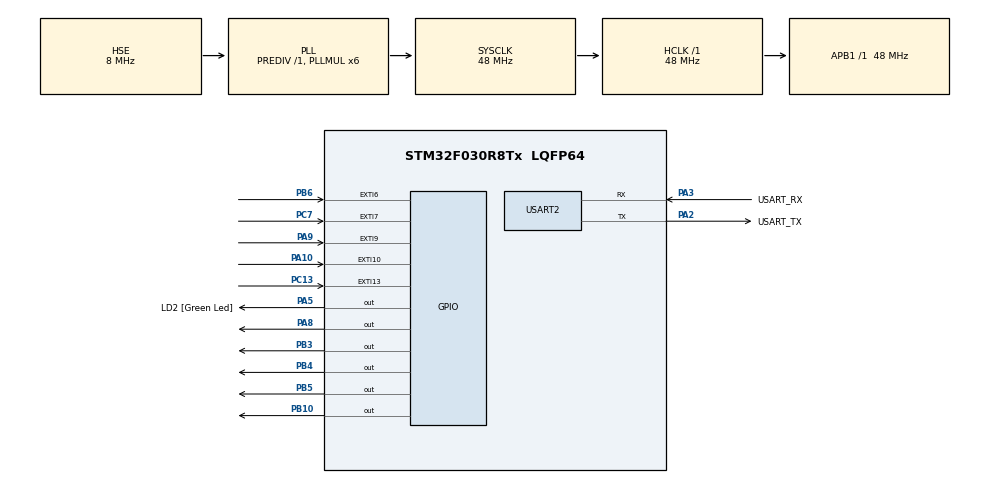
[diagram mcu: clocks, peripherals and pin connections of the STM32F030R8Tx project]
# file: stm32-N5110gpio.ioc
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Mcu.Family=STM32F0
Mcu.Name=STM32F030R8Tx
Mcu.Package=LQFP64
NVIC.EXTI4_15_IRQn=true\:0\:0\:false\:false\:true\:true\:true\:true
PA10.Signal=GPXTI10
PA13.GPIO_Label=TMS
PA13.Mode=Serial_Wire
PA13.Signal=SYS_SWDIO
PA14.GPIO_Label=TCK
PA14.Mode=Serial_Wire
PA14.Signal=SYS_SWCLK
PA2.GPIO_Label=USART_TX
PA2.GPIO_Mode=GPIO_MODE_AF_PP
PA2.GPIO_PuPd=GPIO_NOPULL
PA2.GPIO_Speed=GPIO_SPEED_FREQ_LOW
PA2.Mode=Asynchronous
PA2.Signal=USART2_TX
PA3.GPIO_Label=USART_RX
PA3.GPIO_Mode=GPIO_MODE_AF_PP
PA3.GPIO_PuPd=GPIO_NOPULL
PA3.GPIO_Speed=GPIO_SPEED_FREQ_LOW
PA3.Mode=Asynchronous
PA3.Signal=USART2_RX
PA5.GPIO_Label=LD2 [Green Led]
PA5.GPIO_Mode=GPIO_MODE_OUTPUT_PP
PA5.GPIO_PuPd=GPIO_NOPULL
PA5.GPIO_Speed=GPIO_SPEED_FREQ_LOW
PA5.Signal=GPIO_Output
PA8.Signal=GPIO_Output
PA9.Signal=GPXTI9
PB10.Signal=GPIO_Output
PB3.Signal=GPIO_Output
PB4.Signal=GPIO_Output
PB5.Signal=GPIO_Output
PB6.Signal=GPXTI6
PC13.Signal=GPXTI13
PC14-OSC32_IN.Mode=LSE-External-Oscillator
PC14-OSC32_IN.Signal=RCC_OSC32_IN
PC15-OSC32_OUT.Mode=LSE-External-Oscillator
PC15-OSC32_OUT.Signal=RCC_OSC32_OUT
PC7.Signal=GPXTI7
PF0-OSC_IN.Mode=HSE-External-Clock-Source
PF0-OSC_IN.Signal=RCC_OSC_IN
PF1-OSC_OUT.Signal=RCC_OSC_OUT
ProjectManager.HeapSize=0x200
ProjectManager.StackSize=0x400
ProjectManager.TargetToolchain=STM32CubeIDE
RCC.AHBFreq_Value=48000000
RCC.APB1Freq_Value=48000000
RCC.APB1TimFreq_Value=48000000
RCC.HCLKFreq_Value=48000000
RCC.PLLMUL=RCC_PLL_MUL6
RCC.PLLSourceVirtual=RCC_PLLSOURCE_HSE
RCC.SYSCLKFreq_VALUE=48000000
RCC.SYSCLKSource=RCC_SYSCLKSOURCE_PLLCLK
USART2.VirtualMode-Asynchronous=VM_ASYNC
board=NUCLEO-F030R8

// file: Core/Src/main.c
/* USER CODE BEGIN Header */
/**
  ******************************************************************************
  * @file           : main.c
  * @brief          : Main program body
  ******************************************************************************
  * @attention
  *
  * Copyright (c) 2023 STMicroelectronics.
  * All rights reserved.
  *
  * This software is licensed under terms that can be found in the LICENSE file
  * in the root directory of this software component.
  * If no LICENSE file comes with this software, it is provided AS-IS.
  *
  ******************************************************************************
  */
/* USER CODE END Header */
#include "main.h"

UART_HandleTypeDef huart2;

/* USER CODE BEGIN PV */
uint8_t user_input = none;
/* USER CODE END PV */

void SystemClock_Config(void);
static void MX_GPIO_Init(void);
static void MX_USART2_UART_Init(void);

/* USER CODE BEGIN 0 */

//Button Input GPIOHandler
void HAL_GPIO_EXTI_Callback(uint16_t GPIO_Pin)
{
	HAL_GPIO_WritePin(GPIOA, GPIO_PIN_5, GPIO_PIN_SET);
	switch (GPIO_Pin)
	{
	case PIN6:
		user_input = left;
		break;
	case PIN7:
		user_input = down;
		break;
	case PIN9:
		user_input = up;
		break;
	case PIN10:
		user_input = right;
		break;
	default:
		user_input = none;
		break;
	}
}
/* USER CODE END 0 */

int main(void)
{

  /* MCU Configuration--------------------------------------------------------*/

  /* Reset of all peripherals, Initializes the Flash interface and the Systick. */
  HAL_Init();

  /* Configure the system clock */
  SystemClock_Config();

  /* Initialize all configured peripherals */
  MX_GPIO_Init();
  MX_USART2_UART_Init();
  /* USER CODE BEGIN 2 */
  HAL_Delay(100);

  LCD_setRST(GPIOB, GPIO_PIN_3);
  LCD_setCE(GPIOB, GPIO_PIN_5);
  LCD_setDC(GPIOB, GPIO_PIN_4);
  LCD_setDIN(GPIOB, GPIO_PIN_10);
  LCD_setCLK(GPIOA, GPIO_PIN_8);
  LCD_init();

  HAL_Delay(100);

  //LCD_print("Hello World", 0, 0);
  initGame();
  /* USER CODE END 2 */

  /* Infinite loop */
  /* USER CODE BEGIN WHILE */
  while (1)
  {
    updateGame(user_input);
    user_input = none;
    HAL_GPIO_WritePin(GPIOA, GPIO_PIN_5, GPIO_PIN_RESET);
    HAL_Delay(300);
    /* USER CODE END WHILE */

  }
}

void SystemClock_Config(void)
{
  RCC_OscInitTypeDef RCC_OscInitStruct = {0};
  RCC_ClkInitTypeDef RCC_ClkInitStruct = {0};

  /** Initializes the RCC Oscillators according to the specified parameters
  * in the RCC_OscInitTypeDef structure.
  */
  RCC_OscInitStruct.OscillatorType = RCC_OSCILLATORTYPE_HSE;
  RCC_OscInitStruct.HSEState = RCC_HSE_BYPASS;
  RCC_OscInitStruct.PLL.PLLState = RCC_PLL_ON;
  RCC_OscInitStruct.PLL.PLLSource = RCC_PLLSOURCE_HSE;
  RCC_OscInitStruct.PLL.PLLMUL = RCC_PLL_MUL6;
  RCC_OscInitStruct.PLL.PREDIV = RCC_PREDIV_DIV1;
  if (HAL_RCC_OscConfig(&RCC_OscInitStruct) != HAL_OK)
  {
    Error_Handler();
  }

  /** Initializes the CPU, AHB and APB buses clocks
  */
  RCC_ClkInitStruct.ClockType = RCC_CLOCKTYPE_HCLK|RCC_CLOCKTYPE_SYSCLK
                              |RCC_CLOCKTYPE_PCLK1;
  RCC_ClkInitStruct.SYSCLKSource = RCC_SYSCLKSOURCE_PLLCLK;
  RCC_ClkInitStruct.AHBCLKDivider = RCC_SYSCLK_DIV1;
  RCC_ClkInitStruct.APB1CLKDivider = RCC_HCLK_DIV1;

  if (HAL_RCC_ClockConfig(&RCC_ClkInitStruct, FLASH_LATENCY_1) != HAL_OK)
  {
    Error_Handler();
  }
}

static void MX_USART2_UART_Init(void)
{

  huart2.Instance = USART2;
  huart2.Init.BaudRate = 38400;
  huart2.Init.WordLength = UART_WORDLENGTH_8B;
  huart2.Init.StopBits = UART_STOPBITS_1;
  huart2.Init.Parity = UART_PARITY_NONE;
  huart2.Init.Mode = UART_MODE_TX_RX;
  huart2.Init.HwFlowCtl = UART_HWCONTROL_NONE;
  huart2.Init.OverSampling = UART_OVERSAMPLING_16;
  huart2.Init.OneBitSampling = UART_ONE_BIT_SAMPLE_DISABLE;
  huart2.AdvancedInit.AdvFeatureInit = UART_ADVFEATURE_NO_INIT;
  if (HAL_UART_Init(&huart2) != HAL_OK)
  {
    Error_Handler();
  }

}

static void MX_GPIO_Init(void)
{
  GPIO_InitTypeDef GPIO_InitStruct = {0};

  /* GPIO Ports Clock Enable */
  __HAL_RCC_GPIOC_CLK_ENABLE();
  __HAL_RCC_GPIOF_CLK_ENABLE();
  __HAL_RCC_GPIOA_CLK_ENABLE();
  __HAL_RCC_GPIOB_CLK_ENABLE();

  /*Configure GPIO pin Output Level */
  HAL_GPIO_WritePin(GPIOA, LD2_Pin|GPIO_PIN_8, GPIO_PIN_RESET);

  /*Configure GPIO pin Output Level */
  HAL_GPIO_WritePin(GPIOB, GPIO_PIN_10|GPIO_PIN_3|GPIO_PIN_4|GPIO_PIN_5, GPIO_PIN_RESET);

  /*Configure GPIO pins : PC13 PC7 */
  GPIO_InitStruct.Pin = GPIO_PIN_13|GPIO_PIN_7;
  GPIO_InitStruct.Mode = GPIO_MODE_IT_RISING;
  GPIO_InitStruct.Pull = GPIO_NOPULL;
  HAL_GPIO_Init(GPIOC, &GPIO_InitStruct);

  /*Configure GPIO pins : LD2_Pin PA8 */
  GPIO_InitStruct.Pin = LD2_Pin|GPIO_PIN_8;
  GPIO_InitStruct.Mode = GPIO_MODE_OUTPUT_PP;
  GPIO_InitStruct.Pull = GPIO_NOPULL;
  GPIO_InitStruct.Speed = GPIO_SPEED_FREQ_LOW;
  HAL_GPIO_Init(GPIOA, &GPIO_InitStruct);

  /*Configure GPIO pins : PB10 PB3 PB4 PB5 */
  GPIO_InitStruct.Pin = GPIO_PIN_10|GPIO_PIN_3|GPIO_PIN_4|GPIO_PIN_5;
  GPIO_InitStruct.Mode = GPIO_MODE_OUTPUT_PP;
  GPIO_InitStruct.Pull = GPIO_NOPULL;
  GPIO_InitStruct.Speed = GPIO_SPEED_FREQ_LOW;
  HAL_GPIO_Init(GPIOB, &GPIO_InitStruct);

  /*Configure GPIO pins : PA9 PA10 */
  GPIO_InitStruct.Pin = GPIO_PIN_9|GPIO_PIN_10;
  GPIO_InitStruct.Mode = GPIO_MODE_IT_RISING;
  GPIO_InitStruct.Pull = GPIO_NOPULL;
  HAL_GPIO_Init(GPIOA, &GPIO_InitStruct);

  /*Configure GPIO pin : PB6 */
  GPIO_InitStruct.Pin = GPIO_PIN_6;
  GPIO_InitStruct.Mode = GPIO_MODE_IT_RISING;
  GPIO_InitStruct.Pull = GPIO_NOPULL;
  HAL_GPIO_Init(GPIOB, &GPIO_InitStruct);

  /* EXTI interrupt init*/
  HAL_NVIC_SetPriority(EXTI4_15_IRQn, 0, 0);
  HAL_NVIC_EnableIRQ(EXTI4_15_IRQn);

}

void Error_Handler(void)
{
  __disable_irq();
  while (1)
  {
  }
}
